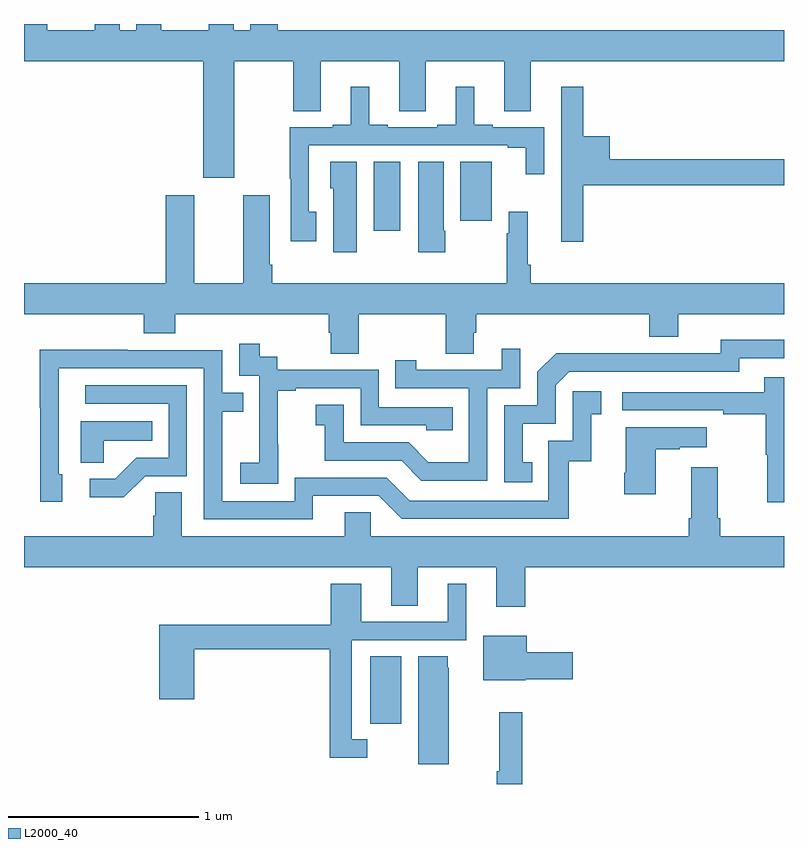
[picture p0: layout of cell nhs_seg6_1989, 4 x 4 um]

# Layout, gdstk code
import gdstk
lib = gdstk.Library(unit=1e-6, precision=1e-09)
def R(c, l, rs):  # rectangles x0, y0, x1, y1
    for r in rs: c.add(gdstk.rectangle(r[:2], r[2:], *l))
def P(c, l, *ps):  # polygons
    for p in ps: c.add(gdstk.Polygon(p, *l))
L2000_40 = (2000, 40)

nhs_seg6_1989 = lib.new_cell('nhs_seg6_1989')
R(nhs_seg6_1989, L2000_40, [(230.822,975.816,230.986,976.172), (230.84,978.411,230.98,978.776), (231.296,978.465,231.463,978.776)])
P(nhs_seg6_1989, L2000_40, [(230.107,979.304),(230.416,979.304),(230.416,979.042),(230.563,979.042),(230.563,979.304),(230.975,979.304),(230.975,979.042),(231.115,979.042),(231.115,979.304),(231.527,979.304),(231.527,979.042),(231.667,979.042),(231.667,979.304),(233,979.304),(233,979.468),(230.336,979.468),(230.336,979.5),(230.192,979.5),(230.192,979.468),(230.104,979.468),(230.104,979.5),(229.973,979.5),(229.973,979.468),(229.723,979.468),(229.723,979.5),(229.592,979.5),(229.592,979.468),(229.504,979.468),(229.504,979.5),(229.373,979.5),(229.373,979.468),(229.123,979.468),(229.123,979.5),(229,979.5),(229,979.304),(229.943,979.304),(229.943,978.69),(230.107,978.69)],
  [(230.539,978.513),(230.499,978.513),(230.499,978.861),(231.545,978.861),(231.545,978.849),(231.641,978.849),(231.641,978.708),(231.738,978.708),(231.738,978.957),(231.466,978.957),(231.466,978.97),(231.37,978.97),(231.37,979.171),(231.272,979.171),(231.272,978.97),(231.176,978.97),(231.176,978.957),(230.914,978.957),(230.914,978.97),(230.818,978.97),(230.818,979.171),(230.72,979.171),(230.72,978.97),(230.624,978.97),(230.624,978.957),(230.398,978.957),(230.398,978.685),(230.403,978.685),(230.403,978.357),(230.539,978.357)],
  [(231.944,978.652),(233,978.652),(233,978.788),(232.084,978.788),(232.084,978.91),(231.944,978.91),(231.944,979.171),(231.828,979.171),(231.828,978.675),(231.827,978.675),(231.827,978.354),(231.944,978.354)],
  [(231.216,978.412),(231.208,978.412),(231.208,978.776),(231.074,978.776),(231.074,978.3),(231.216,978.3)],
  [(230.752,978.776),(230.612,978.776),(230.612,978.636),(230.627,978.636),(230.627,978.3),(230.752,978.3)],
  [(230.763,977.972),(231.22,977.972),(231.22,977.764),(231.367,977.764),(231.367,977.874),(231.38,977.874),(231.38,977.972),(232.292,977.972),(232.292,977.855),(232.444,977.855),(232.444,977.972),(233,977.972),(233,978.136),(231.668,978.136),(231.668,978.232),(231.65,978.232),(231.65,978.511),(231.552,978.511),(231.552,978.398),(231.54,978.398),(231.54,978.136),(230.306,978.136),(230.306,978.232),(230.293,978.232),(230.293,978.598),(230.153,978.598),(230.153,978.136),(229.897,978.136),(229.897,978.598),(229.745,978.598),(229.745,978.136),(229,978.136),(229,977.972),(229.631,977.972),(229.631,977.873),(229.796,977.873),(229.796,977.972),(230.603,977.972),(230.603,977.874),(230.615,977.874),(230.615,977.764),(230.763,977.764)],
  [(231.674,977.193),(231.625,977.193),(231.625,977.397),(231.798,977.397),(231.798,977.598),(231.87,977.67),(232.764,977.67),(232.764,977.742),(233,977.742),(233,977.839),(232.668,977.839),(232.668,977.766),(232.208,977.766),(232.208,977.768),(231.8,977.768),(231.702,977.67),(231.702,977.493),(231.528,977.493),(231.528,977.088),(231.674,977.088)],
  [(230.337,977.287),(230.336,977.287),(230.336,977.571),(230.431,977.571),(230.431,977.583),(230.772,977.583),(230.772,977.388),(231.117,977.388),(231.117,977.361),(231.257,977.361),(231.257,977.484),(230.868,977.484),(230.868,977.679),(230.334,977.679),(230.334,977.748),(230.242,977.748),(230.242,977.818),(230.133,977.818),(230.133,977.649),(230.238,977.649),(230.238,977.42),(230.237,977.42),(230.237,977.191),(230.139,977.191),(230.139,977.081),(230.337,977.081)],
  [(231.438,977.583),(231.612,977.583),(231.612,977.791),(231.515,977.791),(231.515,977.679),(231.064,977.679),(231.064,977.731),(230.953,977.731),(230.953,977.583),(231.342,977.583),(231.342,977.194),(231.128,977.194),(231.024,977.298),(230.682,977.298),(230.682,977.497),(230.535,977.497),(230.535,977.387),(230.584,977.387),(230.584,977.202),(230.987,977.202),(231.092,977.097),(231.438,977.097)],
  [(230.521,977.016),(230.868,977.016),(230.988,976.896),(231.868,976.896),(231.868,977.199),(231.986,977.199),(231.986,977.445),(232.039,977.445),(232.039,977.566),(231.888,977.566),(231.888,977.307),(231.759,977.307),(231.759,976.992),(231.03,976.992),(230.91,977.112),(230.424,977.112),(230.424,976.989),(230.043,976.989),(230.043,977.458),(230.153,977.458),(230.153,977.559),(230.043,977.559),(230.043,977.784),(229.547,977.784),(229.547,977.786),(229.084,977.786),(229.084,977.479),(229.086,977.479),(229.086,976.986),(229.201,976.986),(229.201,977.13),(229.182,977.13),(229.182,977.688),(229.947,977.688),(229.947,976.893),(230.521,976.893)],
  [(233,977.641),(232.897,977.641),(232.897,977.562),(232.149,977.562),(232.149,977.466),(232.681,977.466),(232.681,977.446),(232.905,977.446),(232.905,977.232),(232.912,977.232),(232.912,976.983),(233,976.983)],
  [(229.638,977.121),(229.857,977.121),(229.857,977.598),(229.323,977.598),(229.323,977.502),(229.761,977.502),(229.761,977.217),(229.592,977.217),(229.481,977.106),(229.347,977.106),(229.347,977.009),(229.525,977.009)],
  [(229.419,977.306),(229.676,977.306),(229.676,977.41),(229.298,977.41),(229.298,977.191),(229.419,977.191)],
  [(232.324,977.263),(232.451,977.263),(232.451,977.273),(232.594,977.273),(232.594,977.377),(232.166,977.377),(232.166,977.137),(232.159,977.137),(232.159,977.025),(232.324,977.025)],
  [(232.651,976.9),(232.651,977.167),(232.511,977.167),(232.511,976.9),(232.499,976.9),(232.499,976.804),(230.826,976.804),(230.826,976.931),(230.687,976.931),(230.687,976.804),(229.831,976.804),(229.831,977.036),(229.692,977.036),(229.692,976.913),(229.679,976.913),(229.679,976.804),(229,976.804),(229,976.64),(230.933,976.64),(230.933,976.438),(231.073,976.438),(231.073,976.64),(231.485,976.64),(231.485,976.434),(231.638,976.434),(231.638,976.64),(233,976.64),(233,976.804),(232.664,976.804),(232.664,976.9)],
  [(230.806,975.735),(230.724,975.735),(230.724,976.257),(231.328,976.257),(231.328,976.555),(231.23,976.555),(231.23,976.353),(230.776,976.353),(230.776,976.555),(230.615,976.555),(230.615,976.339),(229.712,976.339),(229.712,975.945),(229.895,975.945),(229.895,976.21),(230.608,976.21),(230.608,975.638),(230.806,975.638)],
  [(231.642,976.052),(231.889,976.052),(231.889,976.194),(231.646,976.194),(231.646,976.279),(231.416,976.279),(231.416,976.046),(231.642,976.046)],
  [(231.235,976.113),(231.229,976.113),(231.229,976.172),(231.074,976.172),(231.074,975.603),(231.235,975.603)],
  [(231.623,975.877),(231.502,975.877),(231.502,975.568),(231.487,975.568),(231.487,975.5),(231.623,975.5)])

lib.write_gds('nhs_seg6_1989.gds')
